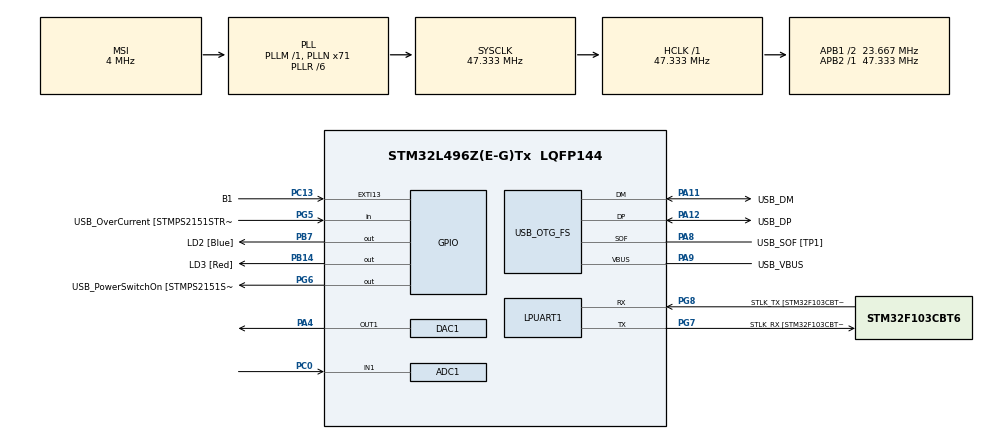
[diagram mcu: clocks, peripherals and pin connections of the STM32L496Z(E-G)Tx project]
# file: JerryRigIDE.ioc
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ADC1.Channel-0\#ChannelRegularConversion=ADC_CHANNEL_1
ADC1.DMAContinuousRequests=ENABLE
ADC1.ExternalTrigConv=ADC_EXTERNALTRIG_T6_TRGO
ADC1.NbrOfConversionFlag=1
ADC1.OffsetNumber-0\#ChannelRegularConversion=ADC_OFFSET_NONE
ADC1.Rank-0\#ChannelRegularConversion=1
ADC1.SamplingTime-0\#ChannelRegularConversion=ADC_SAMPLETIME_2CYCLES_5
ADC1.master=1
DAC1.DAC_Trigger-DAC_OUT1=DAC_TRIGGER_T6_TRGO
Dma.ADC1.0.Direction=DMA_PERIPH_TO_MEMORY
Dma.ADC1.0.Instance=DMA1_Channel1
Dma.ADC1.0.MemDataAlignment=DMA_MDATAALIGN_WORD
Dma.ADC1.0.MemInc=DMA_MINC_ENABLE
Dma.ADC1.0.Mode=DMA_CIRCULAR
Dma.ADC1.0.PeriphDataAlignment=DMA_PDATAALIGN_WORD
Dma.ADC1.0.PeriphInc=DMA_PINC_DISABLE
Dma.ADC1.0.Priority=DMA_PRIORITY_LOW
Dma.DAC_CH1.1.Direction=DMA_MEMORY_TO_PERIPH
Dma.DAC_CH1.1.Instance=DMA1_Channel3
Dma.DAC_CH1.1.MemDataAlignment=DMA_MDATAALIGN_WORD
Dma.DAC_CH1.1.MemInc=DMA_MINC_ENABLE
Dma.DAC_CH1.1.Mode=DMA_CIRCULAR
Dma.DAC_CH1.1.PeriphDataAlignment=DMA_PDATAALIGN_WORD
Dma.DAC_CH1.1.PeriphInc=DMA_PINC_DISABLE
Dma.DAC_CH1.1.Priority=DMA_PRIORITY_LOW
Dma.Request0=ADC1
Dma.Request1=DAC_CH1
Mcu.Family=STM32L4
Mcu.Name=STM32L496Z(E-G)Tx
Mcu.Package=LQFP144
NVIC.DMA1_Channel1_IRQn=true\:0\:0\:false\:false\:true\:false\:true\:true
NVIC.DMA1_Channel3_IRQn=true\:0\:0\:false\:false\:true\:false\:true\:true
NVIC.PriorityGroup=NVIC_PRIORITYGROUP_4
PA10.GPIO_Label=USB_ID
PA10.Signal=USB_OTG_FS_ID
PA11.GPIO_Label=USB_DM
PA11.Mode=Device_Only
PA11.Signal=USB_OTG_FS_DM
PA12.GPIO_Label=USB_DP
PA12.Mode=Device_Only
PA12.Signal=USB_OTG_FS_DP
PA13\ (JTMS/SWDIO).GPIO_Label=TMS
PA13\ (JTMS/SWDIO).Mode=Serial_Wire
PA13\ (JTMS/SWDIO).Signal=SYS_JTMS-SWDIO
PA14\ (JTCK/SWCLK).GPIO_Label=TCK
PA14\ (JTCK/SWCLK).Mode=Serial_Wire
PA14\ (JTCK/SWCLK).Signal=SYS_JTCK-SWCLK
PA4.Signal=COMP_DAC11_group
PA8.GPIO_Label=USB_SOF [TP1]
PA8.Mode=Activate_SOF_FS
PA8.Signal=USB_OTG_FS_SOF
PA9.GPIO_Label=USB_VBUS
PA9.Mode=Activate_VBUS
PA9.Signal=USB_OTG_FS_VBUS
PB14.GPIO_Label=LD3 [Red]
PB14.Signal=GPIO_Output
PB3\ (JTDO/TRACESWO).GPIO_Label=SWO
PB3\ (JTDO/TRACESWO).Signal=SYS_JTDO-SWO
PB7.GPIO_Label=LD2 [Blue]
PB7.Signal=GPIO_Output
PC0.Signal=ADCx_IN1
PC13.GPIO_Label=B1
PC13.Signal=GPXTI13
PC14-OSC32_IN\ (PC14).Mode=LSE-External-Oscillator
PC14-OSC32_IN\ (PC14).Signal=RCC_OSC32_IN
PC15-OSC32_OUT\ (PC15).Mode=LSE-External-Oscillator
PC15-OSC32_OUT\ (PC15).Signal=RCC_OSC32_OUT
PG5.GPIO_Label=USB_OverCurrent [STMPS2151STR_FAULT]
PG5.Signal=GPIO_Input
PG6.GPIO_Label=USB_PowerSwitchOn [STMPS2151STR_EN]
PG6.Signal=GPIO_Output
PG7.GPIO_Label=STLK_RX [STM32F103CBT6_PA3]
PG7.Mode=Asynchronous
PG7.Signal=LPUART1_TX
PG8.GPIO_Label=STLK_TX [STM32F103CBT6_PA2]
PG8.Mode=Asynchronous
PG8.Signal=LPUART1_RX
PH1-OSC_OUT\ (PH1).Signal=RCC_OSC_OUT
ProjectManager.HeapSize=0x200
ProjectManager.StackSize=0x400
ProjectManager.TargetToolchain=STM32CubeIDE
RCC.48MHZClocksFreq_Value=24000000
RCC.ADCFreq_Value=48000000
RCC.AHBFreq_Value=47333333.333333336
RCC.APB1CLKDivider=RCC_HCLK_DIV2
RCC.APB1Freq_Value=23666666.666666668
RCC.APB1TimFreq_Value=47333333.333333336
RCC.APB2Freq_Value=47333333.333333336
RCC.APB2TimFreq_Value=47333333.333333336
RCC.CortexFreq_Value=47333333.333333336
RCC.HCLKFreq_Value=47333333.333333336
RCC.HSE_VALUE=8000000
RCC.HSI48_VALUE=48000000
RCC.HSI_VALUE=16000000
RCC.MSI_VALUE=4000000
RCC.PLLMUL=RCC_PLL_MUL9
RCC.PLLN=71
RCC.PLLR=RCC_PLLR_DIV6
RCC.PLLSAI1N=24
RCC.PRESCALERUSB=RCC_USBCLKSOURCE_PLL_DIV1_5
RCC.SYSCLKFreq_VALUE=47333333.333333336
RCC.SYSCLKSource=RCC_SYSCLKSOURCE_PLLCLK
RCC.SYSCLKSourceVirtual=RCC_SYSCLKSOURCE_PLLCLK
RCC.USBFreq_Value=48000000
RCC.VCOOutputFreq_Value=284000000
SH.ADCx_IN1.0=ADC1_IN1,IN1-Single-Ended
SH.COMP_DAC11_group.0=DAC1_OUT1,DAC_OUT1
TIM6.Period=400
TIM6.TIM_MasterOutputTrigger=TIM_TRGO_UPDATE
USB_OTG_FS.VirtualMode=Device_Only
VP_TIM6_VS_ClockSourceINT.Mode=Enable_Timer
board=NUCLEO-L496ZG

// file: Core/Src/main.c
/* USER CODE BEGIN Header */
/**
  ******************************************************************************
  * @file           : main.c
  * @brief          : Main program body
  ******************************************************************************
  * @attention
  *
  * Copyright (c) 2023 STMicroelectronics.
  * All rights reserved.
  *
  * This software is licensed under terms that can be found in the LICENSE file
  * in the root directory of this software component.
  * If no LICENSE file comes with this software, it is provided AS-IS.
  *
  ******************************************************************************
  */
/* USER CODE END Header */
#include "main.h"

/* USER CODE BEGIN Includes */
#include "arm_math.h"
/* USER CODE END Includes */

/* USER CODE BEGIN PD */
#define NS 2304
#define FULL_BUF_SIZE 2048
#define HALF_BUF_SIZE 1024
#define FFT_SIZE HALF_BUF_SIZE
/* USER CODE END PD */

ADC_HandleTypeDef hadc1;
DMA_HandleTypeDef hdma_adc1;

DAC_HandleTypeDef hdac1;
DMA_HandleTypeDef hdma_dac_ch1;

UART_HandleTypeDef hlpuart1;

TIM_HandleTypeDef htim6;

PCD_HandleTypeDef hpcd_USB_OTG_FS;

/* USER CODE BEGIN PV */
uint32_t adc_val[FULL_BUF_SIZE];
uint32_t dac_val[FULL_BUF_SIZE];

float32_t outtest[FFT_SIZE];

uint32_t* in_buf_ptr;
uint32_t* out_buf_ptr;

int flag = 0;
int counter = 0;

float32_t a[5] = {1,2,3,4,5};
float32_t b[5] = {1,2,3,4,5};
float32_t c[9];

//arm_rfft_instance_f32 S;
uint32_t fftSize = 1024;
uint32_t ifftFlag = 0;
uint32_t doBitReverse = 1;
arm_cfft_instance_f32 varInstCfftF32;

/* USER CODE END PV */

void SystemClock_Config(void);
void PeriphCommonClock_Config(void);
static void MX_GPIO_Init(void);
static void MX_DMA_Init(void);
static void MX_LPUART1_UART_Init(void);
static void MX_USB_OTG_FS_PCD_Init(void);
static void MX_ADC1_Init(void);
static void MX_DAC1_Init(void);
static void MX_TIM6_Init(void);

/* USER CODE BEGIN 0 */
void HAL_ADC_ConvHalfCpltCallback(ADC_HandleTypeDef* hadc) {
  //first half of adc buffer is full
  in_buf_ptr = &adc_val[0];
  out_buf_ptr = &dac_val[HALF_BUF_SIZE];// + HALF_BUF_SIZE;
  flag=1;
}

void HAL_ADC_ConvCpltCallback(ADC_HandleTypeDef* hadc) {
  //second half of adc buffer is full
  in_buf_ptr = &adc_val[HALF_BUF_SIZE];// + HALF_BUF_SIZE;
  out_buf_ptr = &dac_val[0];
  flag=1;
}

void process_data() {
//	arm_rfft_fast_init_f32(&S, FFT_SIZE);
//	arm_rfft_fast_f32(&S, adc_val, outtest, 0);

//  for (int i=0;i<HALF_BUF_SIZE;i++) {

    //out_buf_ptr[i] = in_buf_ptr[i];
//    float temp = ((float)(in_buf_ptr[i] * 1.0/2048.0) - 1.0);
//    out_buf_ptr[i]=(uint32_t)(temp * 2047+2048);
    //out_buf_ptr[i]=((float)(in_buf_ptr[i] * 1.0/2048.0 - 1) * (Wave_LUT[counter]))*2047 + 2048;
    //out_buf_ptr[i] = Wave_LUT[counter]*2047 + 2048;
    //counter_counter++;
    //if (counter_counter == 1) {
      //counter++;
      //counter_counter = 0;
    //}
//    counter++;
//    if (counter == NS) counter = 0;
//  }
}
/* USER CODE END 0 */

int main(void)
{
  /* USER CODE BEGIN 1 */
	arm_status status;
	float32_t maxValue;
	status = ARM_MATH_SUCCESS;
	arm_cfft_radix4_init_f32();
	status=arm_rfft_fast_init_f32(&varInstCfftF32,FFT_SIZE);
	/* Process the data through the CFFT/CIFFT module */
	arm_rfft_fast_f32(&varInstCfftF32, adc_val, outtest, 0);
	/* Process the data through the Complex Magnitude Module for
	calculating the magnitude at each bin */
//	arm_cmplx_mag_f32(adc_val, outtest, FFT_SIZE);
	/* Calculates maxValue and returns corresponding BIN value */
//	arm_max_f32(outtest, fftSize, &maxValue, &testIndex);
//	status = (testIndex != refIndex) ? ARM_MATH_TEST_FAILURE : ARM_MATH_SUCCESS;
  /* USER CODE END 1 */

  /* MCU Configuration--------------------------------------------------------*/

  /* Reset of all peripherals, Initializes the Flash interface and the Systick. */
  HAL_Init();

  /* Configure the system clock */
  SystemClock_Config();

/* Configure the peripherals common clocks */
  PeriphCommonClock_Config();

  /* Initialize all configured peripherals */
  MX_GPIO_Init();
  MX_DMA_Init();
  MX_LPUART1_UART_Init();
  MX_USB_OTG_FS_PCD_Init();
  MX_ADC1_Init();
  MX_DAC1_Init();
  MX_TIM6_Init();
  /* USER CODE BEGIN 2 */
  HAL_TIM_Base_Start(&htim6);
  HAL_ADC_Start_DMA(&hadc1, (uint32_t*) adc_val, FULL_BUF_SIZE);
  HAL_DAC_Start_DMA(&hdac1, DAC_CHANNEL_1, (uint32_t*) dac_val, FULL_BUF_SIZE, DAC_ALIGN_12B_R);

  arm_conv_f32(a, 5, b, 5, c);

  /* USER CODE END 2 */

  /* Infinite loop */
  /* USER CODE BEGIN WHILE */
  while (1)
  {
//	  if (flag) {
//		  process_data();
//		  flag = 0;
//	  }
    /* USER CODE END WHILE */

  }
}

void SystemClock_Config(void)
{
  RCC_OscInitTypeDef RCC_OscInitStruct = {0};
  RCC_ClkInitTypeDef RCC_ClkInitStruct = {0};

  /** Configure the main internal regulator output voltage
  */
  if (HAL_PWREx_ControlVoltageScaling(PWR_REGULATOR_VOLTAGE_SCALE1) != HAL_OK)
  {
    Error_Handler();
  }

  /** Configure LSE Drive Capability
  */
  HAL_PWR_EnableBkUpAccess();
  __HAL_RCC_LSEDRIVE_CONFIG(RCC_LSEDRIVE_LOW);

  /** Initializes the RCC Oscillators according to the specified parameters
  * in the RCC_OscInitTypeDef structure.
  */
  RCC_OscInitStruct.OscillatorType = RCC_OSCILLATORTYPE_LSE|RCC_OSCILLATORTYPE_MSI;
  RCC_OscInitStruct.LSEState = RCC_LSE_ON;
  RCC_OscInitStruct.MSIState = RCC_MSI_ON;
  RCC_OscInitStruct.MSICalibrationValue = 0;
  RCC_OscInitStruct.MSIClockRange = RCC_MSIRANGE_6;
  RCC_OscInitStruct.PLL.PLLState = RCC_PLL_ON;
  RCC_OscInitStruct.PLL.PLLSource = RCC_PLLSOURCE_MSI;
  RCC_OscInitStruct.PLL.PLLM = 1;
  RCC_OscInitStruct.PLL.PLLN = 71;
  RCC_OscInitStruct.PLL.PLLP = RCC_PLLP_DIV2;
  RCC_OscInitStruct.PLL.PLLQ = RCC_PLLQ_DIV2;
  RCC_OscInitStruct.PLL.PLLR = RCC_PLLR_DIV6;
  if (HAL_RCC_OscConfig(&RCC_OscInitStruct) != HAL_OK)
  {
    Error_Handler();
  }

  /** Initializes the CPU, AHB and APB buses clocks
  */
  RCC_ClkInitStruct.ClockType = RCC_CLOCKTYPE_HCLK|RCC_CLOCKTYPE_SYSCLK
                              |RCC_CLOCKTYPE_PCLK1|RCC_CLOCKTYPE_PCLK2;
  RCC_ClkInitStruct.SYSCLKSource = RCC_SYSCLKSOURCE_PLLCLK;
  RCC_ClkInitStruct.AHBCLKDivider = RCC_SYSCLK_DIV1;
  RCC_ClkInitStruct.APB1CLKDivider = RCC_HCLK_DIV2;
  RCC_ClkInitStruct.APB2CLKDivider = RCC_HCLK_DIV1;

  if (HAL_RCC_ClockConfig(&RCC_ClkInitStruct, FLASH_LATENCY_2) != HAL_OK)
  {
    Error_Handler();
  }

  /** Enable MSI Auto calibration
  */
  HAL_RCCEx_EnableMSIPLLMode();
}

void PeriphCommonClock_Config(void)
{
  RCC_PeriphCLKInitTypeDef PeriphClkInit = {0};

  /** Initializes the peripherals clock
  */
  PeriphClkInit.PeriphClockSelection = RCC_PERIPHCLK_USB|RCC_PERIPHCLK_ADC;
  PeriphClkInit.AdcClockSelection = RCC_ADCCLKSOURCE_PLLSAI1;
  PeriphClkInit.UsbClockSelection = RCC_USBCLKSOURCE_PLLSAI1;
  PeriphClkInit.PLLSAI1.PLLSAI1Source = RCC_PLLSOURCE_MSI;
  PeriphClkInit.PLLSAI1.PLLSAI1M = 1;
  PeriphClkInit.PLLSAI1.PLLSAI1N = 24;
  PeriphClkInit.PLLSAI1.PLLSAI1P = RCC_PLLP_DIV2;
  PeriphClkInit.PLLSAI1.PLLSAI1Q = RCC_PLLQ_DIV2;
  PeriphClkInit.PLLSAI1.PLLSAI1R = RCC_PLLR_DIV2;
  PeriphClkInit.PLLSAI1.PLLSAI1ClockOut = RCC_PLLSAI1_48M2CLK|RCC_PLLSAI1_ADC1CLK;
  if (HAL_RCCEx_PeriphCLKConfig(&PeriphClkInit) != HAL_OK)
  {
    Error_Handler();
  }
}

static void MX_ADC1_Init(void)
{

  ADC_MultiModeTypeDef multimode = {0};
  ADC_ChannelConfTypeDef sConfig = {0};

  /** Common config
  */
  hadc1.Instance = ADC1;
  hadc1.Init.ClockPrescaler = ADC_CLOCK_ASYNC_DIV1;
  hadc1.Init.Resolution = ADC_RESOLUTION_12B;
  hadc1.Init.DataAlign = ADC_DATAALIGN_RIGHT;
  hadc1.Init.ScanConvMode = ADC_SCAN_DISABLE;
  hadc1.Init.EOCSelection = ADC_EOC_SINGLE_CONV;
  hadc1.Init.LowPowerAutoWait = DISABLE;
  hadc1.Init.ContinuousConvMode = DISABLE;
  hadc1.Init.NbrOfConversion = 1;
  hadc1.Init.DiscontinuousConvMode = DISABLE;
  hadc1.Init.ExternalTrigConv = ADC_EXTERNALTRIG_T6_TRGO;
  hadc1.Init.ExternalTrigConvEdge = ADC_EXTERNALTRIGCONVEDGE_RISING;
  hadc1.Init.DMAContinuousRequests = ENABLE;
  hadc1.Init.Overrun = ADC_OVR_DATA_PRESERVED;
  hadc1.Init.OversamplingMode = DISABLE;
  if (HAL_ADC_Init(&hadc1) != HAL_OK)
  {
    Error_Handler();
  }

  /** Configure the ADC multi-mode
  */
  multimode.Mode = ADC_MODE_INDEPENDENT;
  if (HAL_ADCEx_MultiModeConfigChannel(&hadc1, &multimode) != HAL_OK)
  {
    Error_Handler();
  }

  /** Configure Regular Channel
  */
  sConfig.Channel = ADC_CHANNEL_1;
  sConfig.Rank = ADC_REGULAR_RANK_1;
  sConfig.SamplingTime = ADC_SAMPLETIME_2CYCLES_5;
  sConfig.SingleDiff = ADC_SINGLE_ENDED;
  sConfig.OffsetNumber = ADC_OFFSET_NONE;
  sConfig.Offset = 0;
  if (HAL_ADC_ConfigChannel(&hadc1, &sConfig) != HAL_OK)
  {
    Error_Handler();
  }

}

static void MX_DAC1_Init(void)
{

  DAC_ChannelConfTypeDef sConfig = {0};

  /** DAC Initialization
  */
  hdac1.Instance = DAC1;
  if (HAL_DAC_Init(&hdac1) != HAL_OK)
  {
    Error_Handler();
  }

  /** DAC channel OUT1 config
  */
  sConfig.DAC_SampleAndHold = DAC_SAMPLEANDHOLD_DISABLE;
  sConfig.DAC_Trigger = DAC_TRIGGER_T6_TRGO;
  sConfig.DAC_OutputBuffer = DAC_OUTPUTBUFFER_ENABLE;
  sConfig.DAC_ConnectOnChipPeripheral = DAC_CHIPCONNECT_DISABLE;
  sConfig.DAC_UserTrimming = DAC_TRIMMING_FACTORY;
  if (HAL_DAC_ConfigChannel(&hdac1, &sConfig, DAC_CHANNEL_1) != HAL_OK)
  {
    Error_Handler();
  }

}

static void MX_LPUART1_UART_Init(void)
{

  hlpuart1.Instance = LPUART1;
  hlpuart1.Init.BaudRate = 209700;
  hlpuart1.Init.WordLength = UART_WORDLENGTH_7B;
  hlpuart1.Init.StopBits = UART_STOPBITS_1;
  hlpuart1.Init.Parity = UART_PARITY_NONE;
  hlpuart1.Init.Mode = UART_MODE_TX_RX;
  hlpuart1.Init.HwFlowCtl = UART_HWCONTROL_NONE;
  hlpuart1.Init.OneBitSampling = UART_ONE_BIT_SAMPLE_DISABLE;
  hlpuart1.AdvancedInit.AdvFeatureInit = UART_ADVFEATURE_NO_INIT;
  if (HAL_UART_Init(&hlpuart1) != HAL_OK)
  {
    Error_Handler();
  }

}

static void MX_TIM6_Init(void)
{

  TIM_MasterConfigTypeDef sMasterConfig = {0};

  htim6.Instance = TIM6;
  htim6.Init.Prescaler = 0;
  htim6.Init.CounterMode = TIM_COUNTERMODE_UP;
  htim6.Init.Period = 400;
  htim6.Init.AutoReloadPreload = TIM_AUTORELOAD_PRELOAD_DISABLE;
  if (HAL_TIM_Base_Init(&htim6) != HAL_OK)
  {
    Error_Handler();
  }
  sMasterConfig.MasterOutputTrigger = TIM_TRGO_UPDATE;
  sMasterConfig.MasterSlaveMode = TIM_MASTERSLAVEMODE_DISABLE;
  if (HAL_TIMEx_MasterConfigSynchronization(&htim6, &sMasterConfig) != HAL_OK)
  {
    Error_Handler();
  }

}

static void MX_USB_OTG_FS_PCD_Init(void)
{

  hpcd_USB_OTG_FS.Instance = USB_OTG_FS;
  hpcd_USB_OTG_FS.Init.dev_endpoints = 6;
  hpcd_USB_OTG_FS.Init.speed = PCD_SPEED_FULL;
  hpcd_USB_OTG_FS.Init.phy_itface = PCD_PHY_EMBEDDED;
  hpcd_USB_OTG_FS.Init.Sof_enable = ENABLE;
  hpcd_USB_OTG_FS.Init.low_power_enable = DISABLE;
  hpcd_USB_OTG_FS.Init.lpm_enable = DISABLE;
  hpcd_USB_OTG_FS.Init.battery_charging_enable = ENABLE;
  hpcd_USB_OTG_FS.Init.use_dedicated_ep1 = DISABLE;
  hpcd_USB_OTG_FS.Init.vbus_sensing_enable = ENABLE;
  if (HAL_PCD_Init(&hpcd_USB_OTG_FS) != HAL_OK)
  {
    Error_Handler();
  }

}

static void MX_DMA_Init(void)
{

  /* DMA controller clock enable */
  __HAL_RCC_DMA1_CLK_ENABLE();

  /* DMA interrupt init */
  /* DMA1_Channel1_IRQn interrupt configuration */
  HAL_NVIC_SetPriority(DMA1_Channel1_IRQn, 0, 0);
  HAL_NVIC_EnableIRQ(DMA1_Channel1_IRQn);
  /* DMA1_Channel3_IRQn interrupt configuration */
  HAL_NVIC_SetPriority(DMA1_Channel3_IRQn, 0, 0);
  HAL_NVIC_EnableIRQ(DMA1_Channel3_IRQn);

}

static void MX_GPIO_Init(void)
{
  GPIO_InitTypeDef GPIO_InitStruct = {0};

  /* GPIO Ports Clock Enable */
  __HAL_RCC_GPIOC_CLK_ENABLE();
  __HAL_RCC_GPIOH_CLK_ENABLE();
  __HAL_RCC_GPIOA_CLK_ENABLE();
  __HAL_RCC_GPIOB_CLK_ENABLE();
  __HAL_RCC_GPIOG_CLK_ENABLE();
  HAL_PWREx_EnableVddIO2();

  /*Configure GPIO pin Output Level */
  HAL_GPIO_WritePin(GPIOB, LD3_Pin|LD2_Pin, GPIO_PIN_RESET);

  /*Configure GPIO pin Output Level */
  HAL_GPIO_WritePin(USB_PowerSwitchOn_GPIO_Port, USB_PowerSwitchOn_Pin, GPIO_PIN_RESET);

  /*Configure GPIO pin : B1_Pin */
  GPIO_InitStruct.Pin = B1_Pin;
  GPIO_InitStruct.Mode = GPIO_MODE_IT_RISING;
  GPIO_InitStruct.Pull = GPIO_NOPULL;
  HAL_GPIO_Init(B1_GPIO_Port, &GPIO_InitStruct);

  /*Configure GPIO pins : LD3_Pin LD2_Pin */
  GPIO_InitStruct.Pin = LD3_Pin|LD2_Pin;
  GPIO_InitStruct.Mode = GPIO_MODE_OUTPUT_PP;
  GPIO_InitStruct.Pull = GPIO_NOPULL;
  GPIO_InitStruct.Speed = GPIO_SPEED_FREQ_LOW;
  HAL_GPIO_Init(GPIOB, &GPIO_InitStruct);

  /*Configure GPIO pin : USB_OverCurrent_Pin */
  GPIO_InitStruct.Pin = USB_OverCurrent_Pin;
  GPIO_InitStruct.Mode = GPIO_MODE_INPUT;
  GPIO_InitStruct.Pull = GPIO_NOPULL;
  HAL_GPIO_Init(USB_OverCurrent_GPIO_Port, &GPIO_InitStruct);

  /*Configure GPIO pin : USB_PowerSwitchOn_Pin */
  GPIO_InitStruct.Pin = USB_PowerSwitchOn_Pin;
  GPIO_InitStruct.Mode = GPIO_MODE_OUTPUT_PP;
  GPIO_InitStruct.Pull = GPIO_NOPULL;
  GPIO_InitStruct.Speed = GPIO_SPEED_FREQ_LOW;
  HAL_GPIO_Init(USB_PowerSwitchOn_GPIO_Port, &GPIO_InitStruct);

}

void Error_Handler(void)
{
  __disable_irq();
  while (1)
  {
  }
}
